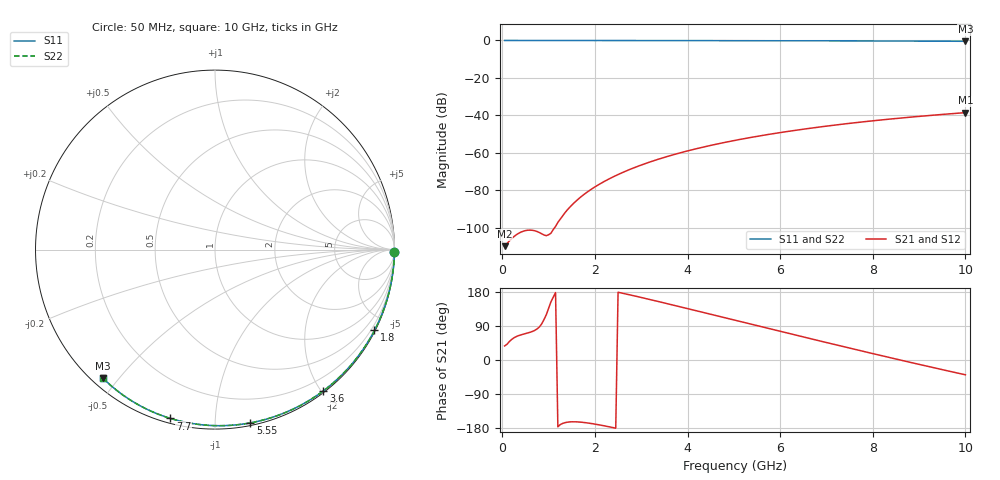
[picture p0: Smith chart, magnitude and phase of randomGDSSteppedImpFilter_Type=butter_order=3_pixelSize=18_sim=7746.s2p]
! freq	dB(S11)	phase(S11)	dB(S12)	phase(S12)
!  dB(S21)	phase(S21)	dB(S22)	phase(S22)
!S-par simulation data
#  GHz  S  DB  R 50
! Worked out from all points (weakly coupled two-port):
!   200 points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, 50 MHz to 10 GHz, reference 50 ohm
!   highest |S21| = -38.49 dB at 10 GHz (marker M1); lowest = -109.7 dB at 50 MHz (marker M2)
!   lowest |S11| = -0.4 dB at 10 GHz (marker M3), VSWR 39.13, Z = 1.54 - j22.7 ohm
!   |S11| at or under -10 dB: nowhere
!   |S22| runs from -0.4 to 0.0 dB; largest |S21 - S12| = 0
!   S11 on the Smith chart (normalised r, x): 50 MHz: open; 1.8 GHz: 0.04, -4.19; 3.6 GHz: 0.02, -2.03; 5.55 GHz: 0.02, -1.22; 7.7 GHz: 0.02, -0.77; 10 GHz: 0.03, -0.45
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0.05  -0.00 -0.8  -109.71 37.1  -109.71 37.1  -0.00 -0.8
0.9  -0.02 -13.6  -103.73 106.5  -103.73 106.5  -0.02 -13.6
1.75  -0.03 -26.1  -82.38 -164.7  -82.38 -164.7  -0.03 -26.1
1.8  -0.03 -26.9  -81.45 -165.5  -81.45 -165.5  -0.03 -26.9
1.85  -0.04 -27.6  -80.56 -166.3  -80.56 -166.3  -0.04 -27.6
1.9  -0.04 -28.3  -79.71 -167.2  -79.71 -167.2  -0.04 -28.3
2.05  -0.04 -30.5  -77.34 -170.2  -77.34 -170.2  -0.04 -30.5
2.25  -0.04 -33.4  -74.55 -174.8  -74.55 -174.8  -0.04 -33.4
2.45  -0.05 -36.3  -72.07 -179.9  -72.07 -179.9  -0.05 -36.3
2.65  -0.05 -39.2  -69.85 174.8  -69.85 174.8  -0.05 -39.2
3  -0.06 -44.1  -66.44 165.0  -66.44 165.0  -0.06 -44.1
3.4  -0.07 -49.8  -63.10 153.4  -63.10 153.4  -0.07 -49.8
3.6  -0.07 -52.5  -61.60 147.5  -61.60 147.5  -0.07 -52.5
4.3  -0.09 -62.1  -57.09 126.6  -57.09 126.6  -0.09 -62.1
5.05  -0.11 -72.0  -53.17 104.1  -53.17 104.1  -0.11 -72.0
5.55  -0.13 -78.5  -50.94 89.1  -50.94 89.1  -0.13 -78.5
6.1  -0.15 -85.4  -48.76 72.7  -48.76 72.7  -0.15 -85.4
6.7  -0.18 -92.8  -46.65 54.9  -46.65 54.9  -0.18 -92.8
7.7  -0.24 -104.8  -43.64 25.6  -43.64 25.6  -0.24 -104.8
8.35  -0.29 -112.4  -41.97 6.8  -41.97 6.8  -0.29 -112.4
9.15  -0.36 -121.5  -40.17 -15.7  -40.17 -15.7  -0.36 -121.5
10  -0.44 -131.1  -38.49 -39.0  -38.49 -39.0  -0.44 -131.1
